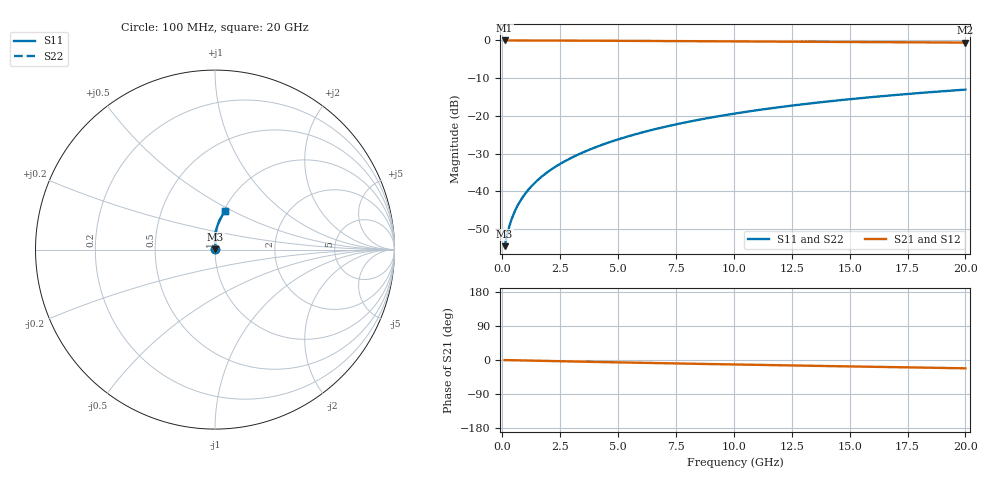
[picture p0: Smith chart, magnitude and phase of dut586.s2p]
! Touchstone file exported from HFSS 2024.1.0
!  File:  C:/UserFiles/LocalFiles/RDL_TSV_Batchsim/temp_RDL_bottom_586_1779690903.aedt
!  Generated:  02:37:38 PM May 25, 2026
!  Design:  RDL_bottom
!  Project:  temp_RDL_bottom_586_1779690903
!  Setup:  Setup1
!  Solution:  Sweep
! Variables:
!  dtsv = 10.80580581um
!  hbump = 3um
!  htsv = 91.41um
!  ldown = 272.86um
!  lrdl = 100um
!  p = 40
!  p1 = 55.76um
!  rhole = 1um
!  t = 450um
!  tdown = 2.81um
!  trdl = 3.915915916um
!  wdown = 27.11um
!  wrdl = 20um
# GHz S MA R 50.000000
! Terminal data exported
! Port[1] = RDL1_T1
! Port[2] = RDL1_T2
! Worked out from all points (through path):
!   200 points, 100 MHz to 20 GHz, reference 50 ohm
!   highest |S21| = -0.01 dB at 100 MHz (marker M1); lowest = -0.6 dB at 20 GHz (marker M2)
!   group delay of S21, straight-line fit = 3 ps
!   lowest |S11| = -54.5 dB at 100 MHz (marker M3), VSWR 1.00, Z = 50.2 + j0.102 ohm
!   |S11| at or under -10 dB: start of sweep to end of sweep
!   |S22| runs from -54.5 to -13.0 dB; largest |S21 - S12| = 2e-15
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0.1  0.001876 32.7  0.9984 -0.1  0.9984 -0.1  0.001876 32.7
! Gamma 0 0 0 0
! Port Impedance 50 0 50 0
0.2  0.002585 50.6  0.9983 -0.3  0.9983 -0.3  0.002585 50.6
0.3  0.003406 59.9  0.9982 -0.4  0.9982 -0.4  0.003406 59.9
0.4  0.004249 65.4  0.9981 -0.5  0.9981 -0.5  0.004249 65.4
0.5  0.005096 69.1  0.998 -0.7  0.998 -0.7  0.005096 69.1
0.6  0.005945 71.9  0.9979 -0.8  0.9979 -0.8  0.005945 71.9
0.8  0.007657 75.9  0.9977 -1.1  0.9977 -1.1  0.007657 75.9
1.1  0.01027 79.8  0.9974 -1.4  0.9974 -1.4  0.01027 79.8
1.3  0.01204 81.6  0.9971 -1.7  0.9971 -1.7  0.01204 81.6
1.6  0.01474 83.7  0.9967 -2.1  0.9967 -2.1  0.01474 83.7
2.1  0.01935 85.9  0.9959 -2.7  0.9959 -2.7  0.01935 85.9
2.7  0.02506 87.7  0.9946 -3.5  0.9946 -3.5  0.02506 87.7
3.5  0.03298 89.1  0.9926 -4.5  0.9926 -4.5  0.03298 89.1
4.2  0.0402 89.8  0.9906 -5.3  0.9906 -5.3  0.0402 89.8
5  0.04876 90.2  0.988 -6.3  0.988 -6.3  0.04876 90.2
6.8  0.069 89.7  0.9818 -8.3  0.9818 -8.3  0.069 89.7
8.4  0.08776 88.5  0.976 -10.1  0.976 -10.1  0.08776 88.5
10.1  0.1081 86.8  0.97 -11.9  0.97 -11.9  0.1081 86.8
11.7  0.1272 85.0  0.9644 -13.6  0.9644 -13.6  0.1272 85.0
13.4  0.1475 82.9  0.9585 -15.3  0.9585 -15.3  0.1475 82.9
16.7  0.1859 78.9  0.9472 -18.6  0.9472 -18.6  0.1859 78.9
20  0.2229 75.0  0.9358 -21.9  0.9358 -21.9  0.2229 75.0
